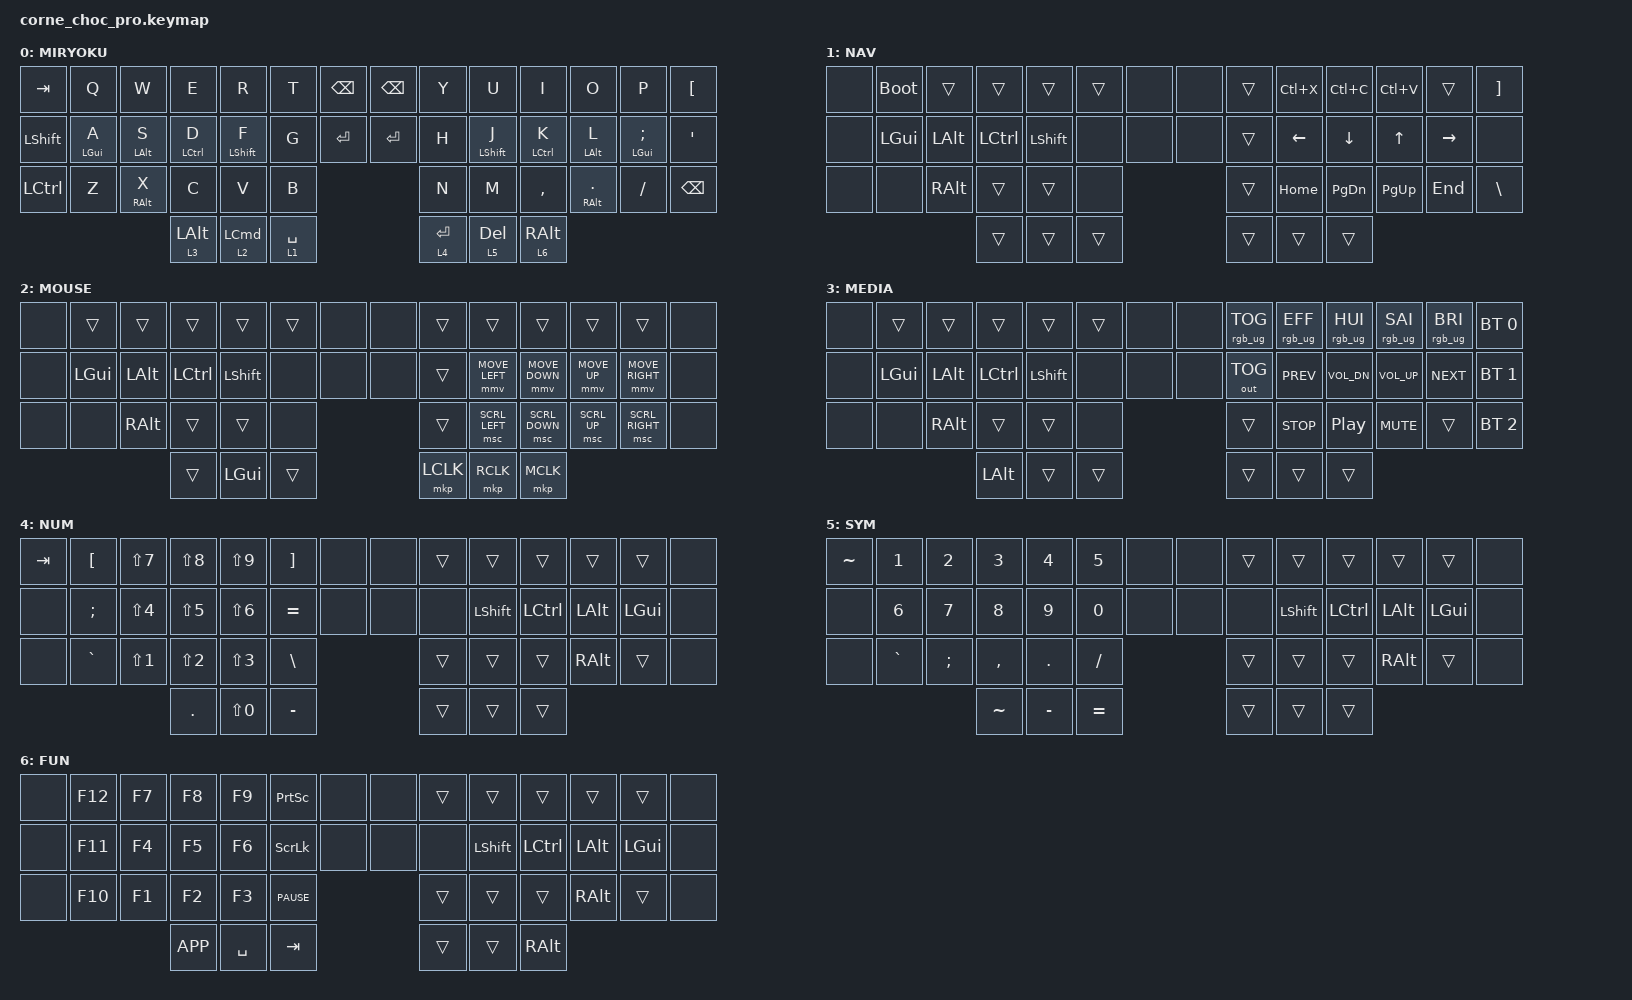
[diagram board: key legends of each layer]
/*
 * Copyright (c) 2020 The ZMK Contributors
 *
 * SPDX-License-Identifier: MIT
 */

#include <behaviors.dtsi>
#include <dt-bindings/zmk/bt.h>
#include <dt-bindings/zmk/keys.h>
#include <dt-bindings/zmk/outputs.h>
#include <dt-bindings/zmk/pointing.h>
#include <dt-bindings/zmk/rgb.h>

/ {
    chosen { zmk,physical-layout = &default_layout; };
};

// Define behaviors for Miryoku

/ {
    behaviors {
        HMRL: HMRL {
            compatible = "zmk,behavior-hold-tap";
            label = "HMRL";
            #binding-cells = <2>;
            tapping-term-ms = <200>;
            flavor = "balanced";
            bindings = <&kp>, <&kp>;

            quick-tap-ms = <200>;
            require-prior-idle-ms = <130>;
            retro-tap;
            hold-trigger-key-positions = <8 9 10 11 12 13 22 23 24 25 26 27 34 35 36 37 38 39>;
        };

        HMRR: HMRR {
            compatible = "zmk,behavior-hold-tap";
            label = "HMRR";
            #binding-cells = <2>;
            tapping-term-ms = <200>;
            flavor = "balanced";
            bindings = <&kp>, <&kp>;

            quick-tap-ms = <200>;
            require-prior-idle-ms = <130>;
            retro-tap;
            hold-trigger-key-positions = <0 1 2 3 4 5 14 15 16 17 18 19 28 29 30 31 32 33>;
        };
    };
};

/*
 * Combos
 *
 * Note: combos are position-based (not character-based).
 * With your host OS set to BÉPO, these combos emit the *missing scan codes*
 * for the physical keys that would normally produce W and Ç on a full keyboard.
 *
 * Uppercase is automatic: hold Shift while triggering the combo.
 */

/ {
    combos {
        compatible = "zmk,combos";

        /* Top-row right edge on BÉPO: 'w' lives on the key that is '[' in US scancodes. */
        /* Home-row right edge on BÉPO: 'ç' lives on the key that is '\'' in US scancodes. */

        esc {
            bindings = <&kp ESCAPE>;
            key-positions = <0 13>;
            layers = <0>;
        };

        ccedilla {
            bindings = <&kp BACKSLASH>;
            key-positions = <22 23>;
            timeout-ms = <60>;
            layers = <0>;
        };

        w {
            bindings = <&kp RIGHT_BRACKET>;
            key-positions = <9 10>;
            timeout-ms = <60>;
            layers = <0>;
        };

        lock {
            bindings = <&kp K_LOCK>;
            key-positions = <1 12>;
        };
    };
};

// Define Layers

#define BASE 0
#define NAV 1
#define MOUSE 2
#define MEDIA 3
#define NUM 4
#define SYM 5
#define FUN 6

/ {
    keymap {
        compatible = "zmk,keymap";

        default_layer {
            display-name = "MIRYOKU";
            bindings = <
&kp TAB         &kp Q         &kp W              &kp E          &kp R          &kp T        &kp BACKSPACE  &kp BACKSPACE  &kp Y         &kp U          &kp I          &kp O                   &kp P                 &kp LEFT_BRACKET
&kp LEFT_SHIFT  &HMRL LGUI A  &HMRL LALT S       &HMRL LCTRL D  &HMRL LSHFT F  &kp G        &kp ENTER      &kp ENTER      &kp H         &HMRR LSHFT J  &HMRR LCTRL K  &HMRR LALT L            &HMRR LGUI SEMICOLON  &kp SQT
&kp LCTRL       &kp Z         &HMRL RIGHT_ALT X  &kp C          &kp V          &kp B                                      &kp N         &kp M          &kp COMMA      &HMRR RIGHT_ALT PERIOD  &kp SLASH             &kp BACKSPACE
                                                 &lt 3 LALT     &lt 2 LCMD     &lt 1 SPACE                                &lt 4 RETURN  &lt 5 DELETE   &lt 6 RALT
            >;
        };

        nav_layer {
            display-name = "NAV";
            bindings = <
&none  &bootloader  &trans    &trans     &trans     &trans  &none  &none  &trans  &kp LC(X) &kp LC(C)  &kp LC(V)  &trans     &kp RIGHT_BRACKET
&none  &kp LGUI     &kp LALT  &kp LCTRL  &kp LSHFT  &none   &none  &none  &trans  &kp LEFT  &kp DOWN   &kp UP     &kp RIGHT  &none
&none  &none        &kp RALT  &trans     &trans     &none                 &trans  &kp HOME  &kp PG_DN  &kp PG_UP  &kp END    &kp BACKSLASH
                              &trans     &trans     &trans                &trans  &trans    &trans
            >;
        };

        mouse_layer {
            display-name = "MOUSE";
            bindings = <
&none  &trans    &trans    &trans     &trans        &trans  &none  &none  &trans     &trans          &trans          &trans        &trans           &none
&none  &kp LGUI  &kp LALT  &kp LCTRL  &kp LSHFT     &none   &none  &none  &trans     &mmv MOVE_LEFT  &mmv MOVE_DOWN  &mmv MOVE_UP  &mmv MOVE_RIGHT  &none
&none  &none     &kp RALT  &trans     &trans        &none                 &trans     &msc SCRL_LEFT  &msc SCRL_DOWN  &msc SCRL_UP  &msc SCRL_RIGHT  &none
                           &trans     &kp LEFT_GUI  &trans                &mkp LCLK  &mkp RCLK       &mkp MCLK
            >;
        };

        media_layer {
            display-name = "MEDIA";
            bindings = <
&none  &trans    &trans    &trans        &trans     &trans  &none  &none  &rgb_ug RGB_TOG  &rgb_ug RGB_EFF  &rgb_ug RGB_HUI  &rgb_ug RGB_SAI  &rgb_ug RGB_BRI  &bt BT_SEL 0
&none  &kp LGUI  &kp LALT  &kp LCTRL     &kp LSHFT  &none   &none  &none  &out OUT_TOG     &kp C_PREV       &kp C_VOL_DN     &kp C_VOL_UP     &kp C_NEXT       &bt BT_SEL 1
&none  &none     &kp RALT  &trans        &trans     &none                 &trans           &kp C_STOP       &kp C_PP         &kp C_MUTE       &trans           &bt BT_SEL 2
                           &kp LEFT_ALT  &trans     &trans                &trans           &trans           &trans
            >;
        };

        num_layer {
            display-name = "NUM";

            /*
             * NUM (BÉPO)
             *
             * Assumption: host OS keyboard layout is set to BÉPO.
             * On BÉPO the number row is symbol-first, so digits require Shift.
             *
             * LS(Nx) = LeftShift + Nx, so you get 0-9 without holding Shift.
             * Layout intent: left = numpad-style digits, right = mods.
             */

            bindings = <
&kp TAB  &kp LBKT   &kp LS(N7)  &kp LS(N8)  &kp LS(N9)  &kp RBKT   &none  &none  &trans  &trans     &trans     &trans    &trans    &none
&none    &kp SEMI   &kp LS(N4)  &kp LS(N5)  &kp LS(N6)  &kp EQUAL  &none  &none  &none   &kp LSHFT  &kp LCTRL  &kp LALT  &kp LGUI  &none
&none    &kp GRAVE  &kp LS(N1)  &kp LS(N2)  &kp LS(N3)  &kp BSLH                 &trans  &trans     &trans     &kp RALT  &trans    &none
                                &kp DOT     &kp LS(N0)  &kp MINUS                &trans  &trans     &trans
            >;
        };

        sym_layer {
            display-name = "SYM";

            /*
             * SYM (BÉPO)
             *
             * Assumption: host OS keyboard layout is set to BÉPO.
             * This layer exposes the unshifted BÉPO number row (symbols-first).
             *
             * - &kp N1..&kp N0: sends the number-row keys *without* Shift.
             *   On BÉPO that yields symbols like $ # \" « » ( ) @ + - (layout-dependent).
             * - Right side keeps modifiers so you can still access shifted variants.
             */

            bindings = <
&kp TILDE  &kp N1     &kp N2    &kp N3     &kp N4      &kp N5     &none  &none  &trans  &trans     &trans     &trans    &trans    &none
&none      &kp N6     &kp N7    &kp N8     &kp N9      &kp N0     &none  &none  &none   &kp LSHFT  &kp LCTRL  &kp LALT  &kp LGUI  &none
&none      &kp GRAVE  &kp SEMI  &kp COMMA  &kp PERIOD  &kp SLASH                &trans  &trans     &trans     &kp RALT  &trans    &none
                                &kp TILDE  &kp MINUS   &kp EQUAL                &trans  &trans     &trans
            >;
        };

        fun_layer {
            display-name = "FUN";
            bindings = <
&none  &kp F12  &kp F7  &kp F8     &kp F9     &kp PSCRN    &none  &none  &trans  &trans     &trans         &trans    &trans    &none
&none  &kp F11  &kp F4  &kp F5     &kp F6     &kp SLCK     &none  &none  &none   &kp LSHFT  &kp LCTRL      &kp LALT  &kp LGUI  &none
&none  &kp F10  &kp F1  &kp F2     &kp F3     &kp C_PAUSE                &trans  &trans     &trans         &kp RALT  &trans    &none
                        &kp K_APP  &kp SPACE  &kp TAB                    &trans  &trans     &kp RIGHT_ALT
            >;
        };
    };
};
